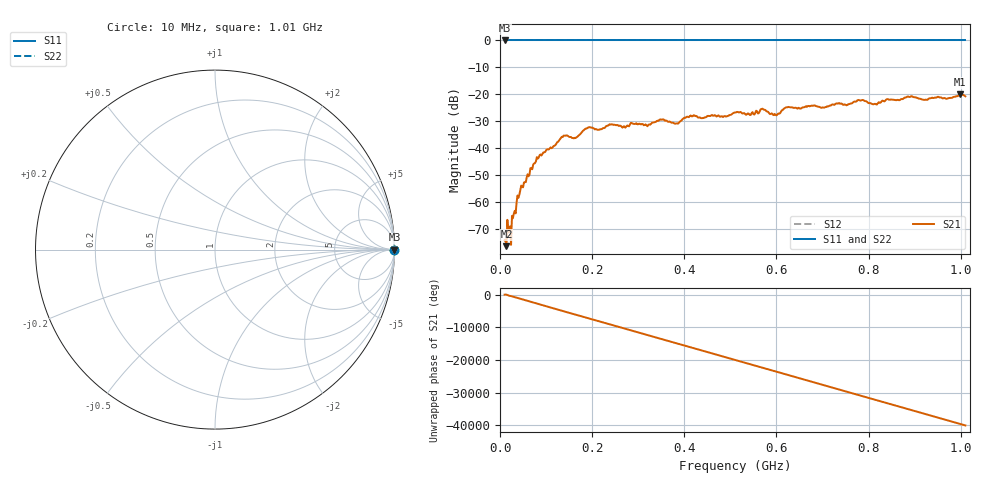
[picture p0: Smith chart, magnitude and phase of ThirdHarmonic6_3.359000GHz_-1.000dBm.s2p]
! 8/17/2025 10:37:30 AM
! C:\ANRITSUVNA\TEMP\TEMP.S2P
! CHANNEL.1
! TR.MEASUREMENT
! RAW.DATA
! RF.CORRECTION.OFF
! AVERAGING.OFF
! IF.BANDWIDTH: 5KHZ
! SWEEPTYPE:  FREQ.SWEEP(Linear)
! Reference Plane Port Info
! PORT:  PORT1  PORT2
! DISTANCE:  0  m  0  m
! TIME:  0  s  0  s
! PHASE.OFFSET:  0  deg.  0  deg.
! LOSS:  0  dB  0  dB
! REF.LOSS:  0  dB  0  dB
! REF.FREQ:  0  Hz  0  Hz
! Power Info
! POWER:  -20  dBm  -20  dBm
! EFF.POWER:  -20  dBm  -20  dBm
! SOURCE.ATTEN:  0  dB  0  dB
! TEST.ATTEN:  0  dB  0  dB
# GHZ S RI R 50.0
! FREQ.GHZ  S11RE  S11IM  S21RE  S21IM  S12RE  S12IM  S22RE  S22IM
!; PortSelection: Port_12
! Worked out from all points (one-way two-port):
!   501 points, 10 MHz to 1.01 GHz, reference 50 ohm
!   highest |S21| = -20.00 dB at 998 MHz (marker M1); lowest = -76.2 dB at 14 MHz (marker M2)
!   lowest |S11| = 0.0 dB at 10 MHz (marker M3)
!   |S11| at or under -10 dB: nowhere
!   |S22| runs from 0.0 to 0.0 dB; largest |S21 - S12| = 1.1
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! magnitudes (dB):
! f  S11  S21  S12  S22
! 10 MHz  0.0  -74.1  0.0  0.0
! 14 MHz  0.0  -76.2  0.0  0.0
! 26 MHz  0.0  -65.0  0.0  0.0
! 42 MHz  0.0  -57.1  0.0  0.0
! 84 MHz  0.0  -43.4  0.0  0.0
! 136 MHz  0.0  -35.8  0.0  0.0
! 162 MHz  0.0  -36.1  0.0  0.0
! 178 MHz  0.0  -33.9  0.0  0.0
! 194 MHz  0.0  -32.1  0.0  0.0
! 344 MHz  0.0  -29.8  0.0  0.0
! 382 MHz  0.0  -30.8  0.0  0.0
! 416 MHz  0.0  -28.1  0.0  0.0
! 510 MHz  0.0  -26.7  0.0  0.0
! 570 MHz  0.0  -25.3  0.0  0.0
! 598 MHz  0.0  -27.6  0.0  0.0
! 622 MHz  0.0  -24.8  0.0  0.0
! 678 MHz  0.0  -24.2  0.0  0.0
! 782 MHz  0.0  -22.3  0.0  0.0
! 814 MHz  0.0  -23.5  0.0  0.0
! 844 MHz  0.0  -21.9  0.0  0.0
! 998 MHz  0.0  -20.0  0.0  0.0
! 1.01 GHz  0.0  -20.7  0.0  0.0
